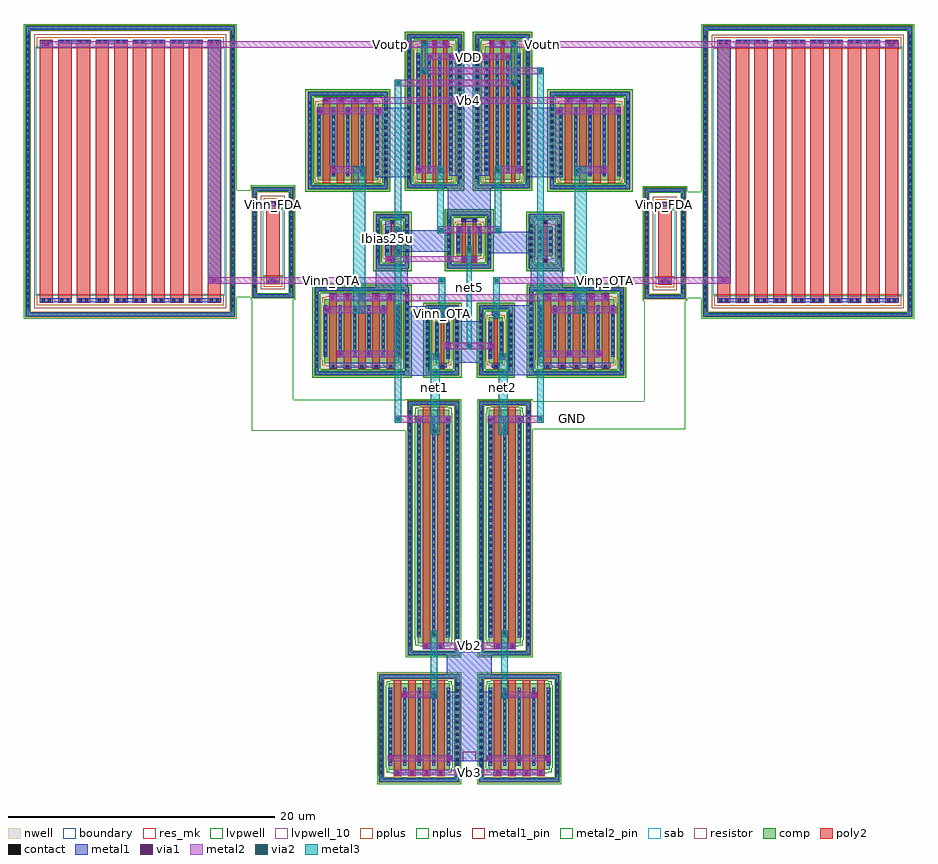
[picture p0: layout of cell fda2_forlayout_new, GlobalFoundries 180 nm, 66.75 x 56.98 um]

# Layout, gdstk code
from math import pi, radians
import gdstk
lib = gdstk.Library(unit=1e-6, precision=1e-09)
def R(c, l, rs):  # rectangles x0, y0, x1, y1
    for r in rs: c.add(gdstk.rectangle(r[:2], r[2:], *l))
def A(c, l, x, y, w, h, nx, ny, dx, dy):  # array of equal rectangles
    R(c, l, [(x+i*dx, y+j*dy, x+i*dx+w, y+j*dy+h) for i in range(nx) for j in range(ny)])
boundary = (0, 0)
nwell = (21, 0)
comp = (22, 0)
poly2 = (30, 0)
pplus = (31, 0)
nplus = (32, 0)
contact = (33, 0)
metal1 = (34, 0)
metal1_pin = (34, 10)
via1 = (35, 0)
metal2 = (36, 0)
metal2_pin = (36, 10)
via2 = (38, 0)
metal3 = (42, 0)
sab = (49, 0)
resistor = (62, 0)
res_mk = (110, 5)
lvpwell = (204, 0)
lvpwell_10 = (204, 10)

ppolyf_u_1k_sbhpz7 = lib.new_cell('ppolyf_u_1k_SBHPZ7')
R(ppolyf_u_1k_sbhpz7, boundary, [(-1.38,-3.99,1.38,3.99)])
R(ppolyf_u_1k_sbhpz7, comp, [(-1.56,-4.17,1.56,-3.81), (-1.56,-3.81,-1.2,3.81), (1.2,-3.81,1.56,3.81), (-1.56,3.81,1.56,4.17)])
R(ppolyf_u_1k_sbhpz7, poly2, [(-0.5,-3.11,0.5,3.11)])
R(ppolyf_u_1k_sbhpz7, pplus, [(-1.58,-4.19,1.58,-3.79), (-1.58,-3.79,-1.17,-3.685), (1.17,-3.79,1.58,-3.685), (-1.59,-3.685,-1.17,3.685), (1.17,-3.685,1.59,3.685), (-0.7,-3.31,0.7,-2.5), (-0.7,2.5,0.7,3.31), (-1.58,3.685,-1.17,3.79), (1.17,3.685,1.58,3.79), (-1.58,3.79,1.58,4.19)])
A(ppolyf_u_1k_sbhpz7, contact, -1.49, -3.4, 0.22, 0.22, 1, 15, 0, 0.47)
A(ppolyf_u_1k_sbhpz7, contact, 1.27, -3.4, 0.22, 0.22, 1, 15, 0, 0.47)
R(ppolyf_u_1k_sbhpz7, contact, [(-0.345,-3.04,-0.125,-2.82), (0.125,-3.04,0.345,-2.82), (-0.345,2.82,-0.125,3.04), (0.125,2.82,0.345,3.04)])
R(ppolyf_u_1k_sbhpz7, metal1, [(-1.495,-4.105,1.495,-3.875), (-1.495,-3.875,-1.265,3.875), (1.265,-3.875,1.495,3.875), (-0.49,-3.045,0.49,-2.815), (-0.49,2.815,0.49,3.045), (-1.495,3.875,1.495,4.105)])
R(ppolyf_u_1k_sbhpz7, sab, [(-0.78,-2.6,0.78,2.6), (-0.78,-2.5,0.78,2.5)])
R(ppolyf_u_1k_sbhpz7, resistor, [(-0.9,-3.51,0.9,3.51)])
R(ppolyf_u_1k_sbhpz7, res_mk, [(-0.78,-2.5,0.78,2.5), (-0.5,-2.5,0.5,2.5)])
R(ppolyf_u_1k_sbhpz7, lvpwell, [(-1.68,-4.29,1.68,4.29)])

ppolyf_u_1k_lusa4k = lib.new_cell('ppolyf_u_1k_LUSA4K')
R(ppolyf_u_1k_lusa4k, boundary, [(-7.68,-10.74,7.68,10.74)])
R(ppolyf_u_1k_lusa4k, comp, [(-7.86,-10.92,7.86,-10.56), (-7.86,-10.56,-7.5,10.56), (7.5,-10.56,7.86,10.56), (-7.86,10.56,7.86,10.92)])
A(ppolyf_u_1k_lusa4k, poly2, -6.8, -9.86, 1, 19.72, 10, 1, 1.4, 0)
R(ppolyf_u_1k_lusa4k, pplus, [(-7.88,-10.94,7.88,-10.54), (-7.88,-10.54,-7.47,-10.435), (7.47,-10.54,7.88,-10.435), (-7.89,-10.435,-7.47,10.435), (7.47,-10.435,7.89,10.435), (-7,-10.06,7,-9.25), (-7,9.25,7,10.06), (-7.88,10.435,-7.47,10.54), (7.47,10.435,7.88,10.54), (-7.88,10.54,7.88,10.94)])
A(ppolyf_u_1k_lusa4k, contact, -7.79, -10.215, 0.22, 0.22, 1, 44, 0, 0.47)
A(ppolyf_u_1k_lusa4k, contact, 7.57, -10.215, 0.22, 0.22, 1, 44, 0, 0.47)
R(ppolyf_u_1k_lusa4k, contact, [(-6.645,-9.79,-6.425,-9.57), (-6.175,-9.79,-5.955,-9.57), (-5.245,-9.79,-5.025,-9.57), (-4.775,-9.79,-4.555,-9.57), (-3.845,-9.79,-3.625,-9.57), (-3.375,-9.79,-3.155,-9.57), (-2.445,-9.79,-2.225,-9.57), (-1.975,-9.79,-1.755,-9.57), (-1.045,-9.79,-0.825,-9.57), (-0.575,-9.79,-0.355,-9.57), (0.355,-9.79,0.575,-9.57), (0.825,-9.79,1.045,-9.57), (1.755,-9.79,1.975,-9.57), (2.225,-9.79,2.445,-9.57), (3.155,-9.79,3.375,-9.57), (3.625,-9.79,3.845,-9.57), (4.555,-9.79,4.775,-9.57), (5.025,-9.79,5.245,-9.57), (5.955,-9.79,6.175,-9.57), (6.425,-9.79,6.645,-9.57), (-6.645,9.57,-6.425,9.79), (-6.175,9.57,-5.955,9.79), (-5.245,9.57,-5.025,9.79), (-4.775,9.57,-4.555,9.79), (-3.845,9.57,-3.625,9.79), (-3.375,9.57,-3.155,9.79), (-2.445,9.57,-2.225,9.79), (-1.975,9.57,-1.755,9.79), (-1.045,9.57,-0.825,9.79), (-0.575,9.57,-0.355,9.79), (0.355,9.57,0.575,9.79), (0.825,9.57,1.045,9.79), (1.755,9.57,1.975,9.79), (2.225,9.57,2.445,9.79), (3.155,9.57,3.375,9.79), (3.625,9.57,3.845,9.79), (4.555,9.57,4.775,9.79), (5.025,9.57,5.245,9.79), (5.955,9.57,6.175,9.79), (6.425,9.57,6.645,9.79)])
A(ppolyf_u_1k_lusa4k, metal1, -6.79, -9.795, 0.98, 0.23, 10, 2, 1.4, 19.36)
R(ppolyf_u_1k_lusa4k, metal1, [(-7.795,-10.855,7.795,-10.625), (-7.795,-10.625,-7.565,10.625), (7.565,-10.625,7.795,10.625), (-7.795,10.625,7.795,10.855)])
R(ppolyf_u_1k_lusa4k, sab, [(-7.08,-9.35,7.08,9.35), (-7.08,-9.25,7.08,9.25)])
R(ppolyf_u_1k_lusa4k, resistor, [(-7.2,-10.26,7.2,10.26)])
A(ppolyf_u_1k_lusa4k, res_mk, -6.8, -9.25, 1, 18.5, 10, 1, 1.4, 0)
R(ppolyf_u_1k_lusa4k, res_mk, [(-7.08,-9.25,7.08,9.25)])
R(ppolyf_u_1k_lusa4k, lvpwell, [(-7.98,-11.04,7.98,11.04)])

nfet_03v3_egpf84 = lib.new_cell('nfet_03v3_EGPF84')
R(nfet_03v3_egpf84, boundary, [(-2.85,-3.88,2.85,3.88)])
R(nfet_03v3_egpf84, comp, [(-3.03,-4.06,3.03,-3.7), (-3.03,-3.7,-2.67,3.7), (2.67,-3.7,3.03,3.7), (-2.275,-3.13,2.275,-2.81), (-2.34,-2.81,2.34,3.05), (-2.275,3.05,2.275,3.37), (-3.03,3.7,3.03,4.06)])
A(nfet_03v3_egpf84, poly2, -1.9, -3.59, 0.56, 7.18, 4, 1, 1.08, 0)
R(nfet_03v3_egpf84, pplus, [(-3.05,-4.08,3.05,-3.68), (-3.05,-3.68,-2.64,-3.575), (2.64,-3.68,3.05,-3.575), (-3.06,-3.575,-2.64,3.575), (2.64,-3.575,3.06,3.575), (-3.05,3.575,-2.64,3.68), (2.64,3.575,3.05,3.68), (-3.05,3.68,3.05,4.08)])
R(nfet_03v3_egpf84, nplus, [(-2.13,-3.36,2.13,-3.29), (-2.435,-3.29,2.435,-2.97), (-2.5,-2.97,2.5,3.21), (-2.435,3.21,2.435,3.53), (-2.13,3.53,2.13,3.6)])
A(nfet_03v3_egpf84, contact, -1.73, -3.52, 0.22, 0.22, 4, 1, 1.08, 0)
A(nfet_03v3_egpf84, contact, -2.96, -3.4, 0.22, 0.22, 1, 15, 0, 0.47)
A(nfet_03v3_egpf84, contact, 2.74, -3.4, 0.22, 0.22, 1, 15, 0, 0.47)
A(nfet_03v3_egpf84, contact, -2.27, -2.575, 0.22, 0.22, 5, 12, 1.08, 0.47)
A(nfet_03v3_egpf84, metal1, -1.89, -3.525, 0.54, 0.23, 4, 1, 1.08, 0)
A(nfet_03v3_egpf84, metal1, -2.275, -2.8, 0.23, 5.84, 5, 1, 1.08, 0)
R(nfet_03v3_egpf84, metal1, [(-2.965,-3.995,2.965,-3.765), (-2.965,-3.765,-2.735,3.765), (2.735,-3.765,2.965,3.765), (-2.965,3.765,2.965,3.995)])
R(nfet_03v3_egpf84, lvpwell, [(-3.15,-4.18,3.15,4.18)])

nfet_03v3_6gn9jw = lib.new_cell('nfet_03v3_6GN9JW')
R(nfet_03v3_6gn9jw, boundary, [(-1.77,-9.38,1.77,9.38)])
R(nfet_03v3_6gn9jw, comp, [(-1.95,-9.56,1.95,-9.2), (-1.95,-9.2,-1.59,9.2), (1.59,-9.2,1.95,9.2), (-1.195,-8.63,1.195,-8.195), (-1.26,-8.195,1.26,8.435), (-1.195,8.435,1.195,8.87), (-1.95,9.2,1.95,9.56)])
R(nfet_03v3_6gn9jw, poly2, [(-0.82,-9.09,-0.26,9.09), (0.26,-9.09,0.82,9.09)])
R(nfet_03v3_6gn9jw, pplus, [(-1.97,-9.58,1.97,-9.18), (-1.97,-9.18,-1.56,-9.075), (1.56,-9.18,1.97,-9.075), (-1.98,-9.075,-1.56,9.075), (1.56,-9.075,1.98,9.075), (-1.97,9.075,-1.56,9.18), (1.56,9.075,1.97,9.18), (-1.97,9.18,1.97,9.58)])
R(nfet_03v3_6gn9jw, nplus, [(-1.05,-8.86,1.05,-8.79), (-1.355,-8.79,1.355,-8.355), (-1.42,-8.355,1.42,8.595), (-1.355,8.595,1.355,9.03), (-1.05,9.03,1.05,9.1)])
A(nfet_03v3_6gn9jw, contact, -1.88, -8.805, 0.22, 0.22, 1, 38, 0, 0.47)
A(nfet_03v3_6gn9jw, contact, 1.66, -8.805, 0.22, 0.22, 1, 38, 0, 0.47)
A(nfet_03v3_6gn9jw, contact, -1.19, -7.98, 0.22, 0.22, 3, 35, 1.08, 0.47)
R(nfet_03v3_6gn9jw, contact, [(-0.65,-9.02,-0.43,-8.8), (0.43,-9.02,0.65,-8.8)])
A(nfet_03v3_6gn9jw, metal1, -1.195, -8.185, 0.23, 16.61, 3, 1, 1.08, 0)
R(nfet_03v3_6gn9jw, metal1, [(-1.885,-9.495,1.885,-9.265), (-1.885,-9.265,-1.655,9.265), (1.655,-9.265,1.885,9.265), (-0.81,-9.025,-0.27,-8.795), (0.27,-9.025,0.81,-8.795), (-1.885,9.265,1.885,9.495)])
R(nfet_03v3_6gn9jw, lvpwell, [(-2.07,-9.68,2.07,9.68)])

pfet_03v3_gkwnht = lib.new_cell('pfet_03v3_GKWNHT')
R(pfet_03v3_gkwnht, boundary, [(-3.39,-3.15,3.39,3.15)])
R(pfet_03v3_gkwnht, nwell, [(-3.69,-3.45,3.69,3.45)])
R(pfet_03v3_gkwnht, comp, [(-3.57,-3.33,3.57,-2.97), (-3.57,-2.97,-3.21,2.97), (3.21,-2.97,3.57,2.97), (-2.815,-2.4,2.815,-1.935), (-2.88,-1.935,2.88,1.935), (-2.815,1.935,2.815,2.4), (-3.57,2.97,3.57,3.33)])
A(pfet_03v3_gkwnht, poly2, -2.44, -2.86, 0.56, 5.72, 5, 1, 1.08, 0)
R(pfet_03v3_gkwnht, pplus, [(-2.67,-2.63,2.67,-2.56), (-2.975,-2.56,2.975,-2.095), (-3.04,-2.095,3.04,2.095), (-2.975,2.095,2.975,2.56), (-2.67,2.56,2.67,2.63)])
R(pfet_03v3_gkwnht, nplus, [(-3.73,-3.49,3.73,-2.86), (-3.73,-2.86,-3.1,2.86), (3.1,-2.86,3.73,2.86), (-3.73,2.86,3.73,3.49)])
A(pfet_03v3_gkwnht, contact, -2.27, -2.79, 0.22, 0.22, 5, 2, 1.08, 5.36)
A(pfet_03v3_gkwnht, contact, -3.5, -2.695, 0.22, 0.22, 1, 12, 0, 0.47)
A(pfet_03v3_gkwnht, contact, 3.28, -2.695, 0.22, 0.22, 1, 12, 0, 0.47)
A(pfet_03v3_gkwnht, contact, -2.81, -1.755, 0.22, 0.22, 6, 8, 1.08, 0.47)
A(pfet_03v3_gkwnht, metal1, -2.43, -2.795, 0.54, 0.23, 5, 2, 1.08, 5.36)
A(pfet_03v3_gkwnht, metal1, -2.815, -1.925, 0.23, 3.85, 6, 1, 1.08, 0)
R(pfet_03v3_gkwnht, metal1, [(-3.505,-3.265,3.505,-3.035), (-3.505,-3.035,-3.275,3.035), (3.275,-3.035,3.505,3.035), (-3.505,3.035,3.505,3.265)])

pfet_03v3_3s3y6a = lib.new_cell('pfet_03v3_3S3Y6A')
R(pfet_03v3_3s3y6a, boundary, [(-1.09,-1.885,1.09,1.885)])
R(pfet_03v3_3s3y6a, nwell, [(-1.39,-2.185,1.39,2.185)])
R(pfet_03v3_3s3y6a, comp, [(-1.27,-2.065,1.27,-1.705), (-1.27,-1.705,-0.91,1.705), (0.91,-1.705,1.27,1.705), (-0.515,-1.135,0.515,-1.03), (-0.58,-1.03,0.58,1.03), (-0.515,1.03,0.515,1.135), (-1.27,1.705,1.27,2.065)])
R(pfet_03v3_3s3y6a, poly2, [(-0.18,-1.595,0.18,-1.235), (-0.14,-1.235,0.14,1.235), (-0.18,1.235,0.18,1.595)])
R(pfet_03v3_3s3y6a, pplus, [(-0.37,-1.365,0.37,-1.295), (-0.675,-1.295,0.675,-1.19), (-0.74,-1.19,0.74,1.19), (-0.675,1.19,0.675,1.295), (-0.37,1.295,0.37,1.365)])
R(pfet_03v3_3s3y6a, nplus, [(-1.43,-2.225,1.43,-1.595), (-1.43,-1.595,-0.8,1.595), (0.8,-1.595,1.43,1.595), (-1.43,1.595,1.43,2.225)])
A(pfet_03v3_3s3y6a, contact, -1.2, -1.285, 0.22, 0.22, 1, 6, 0, 0.47)
A(pfet_03v3_3s3y6a, contact, 0.98, -1.285, 0.22, 0.22, 1, 6, 0, 0.47)
A(pfet_03v3_3s3y6a, contact, -0.51, -0.815, 0.22, 0.22, 1, 4, 0, 0.47)
A(pfet_03v3_3s3y6a, contact, 0.29, -0.815, 0.22, 0.22, 1, 4, 0, 0.47)
R(pfet_03v3_3s3y6a, contact, [(-0.11,-1.525,0.11,-1.305), (-0.11,1.305,0.11,1.525)])
R(pfet_03v3_3s3y6a, metal1, [(-1.205,-2,1.205,-1.77), (-1.205,-1.77,-0.975,1.77), (0.975,-1.77,1.205,1.77), (-0.17,-1.53,0.17,-1.3), (-0.515,-1.02,-0.285,1.02), (0.285,-1.02,0.515,1.02), (-0.17,1.3,0.17,1.53), (-1.205,1.77,1.205,2)])

pfet_03v3_2jhb2g = lib.new_cell('pfet_03v3_2JHB2G')
R(pfet_03v3_2jhb2g, boundary, [(-1.09,-2.475,1.09,2.475)])
R(pfet_03v3_2jhb2g, nwell, [(-1.39,-2.775,1.39,2.775)])
R(pfet_03v3_2jhb2g, comp, [(-1.27,-2.655,1.27,-2.295), (-1.27,-2.295,-0.91,2.295), (0.91,-2.295,1.27,2.295), (-0.515,-1.725,0.515,-1.395), (-0.58,-1.395,0.58,1.395), (-0.515,1.395,0.515,1.725), (-1.27,2.295,1.27,2.655)])
R(pfet_03v3_2jhb2g, poly2, [(-0.18,-2.185,0.18,-1.825), (-0.14,-1.825,0.14,1.825), (-0.18,1.825,0.18,2.185)])
R(pfet_03v3_2jhb2g, pplus, [(-0.37,-1.955,0.37,-1.885), (-0.675,-1.885,0.675,-1.555), (-0.74,-1.555,0.74,1.555), (-0.675,1.555,0.675,1.885), (-0.37,1.885,0.37,1.955)])
R(pfet_03v3_2jhb2g, nplus, [(-1.43,-2.815,1.43,-2.185), (-1.43,-2.185,-0.8,2.185), (0.8,-2.185,1.43,2.185), (-1.43,2.185,1.43,2.815)])
A(pfet_03v3_2jhb2g, contact, -1.2, -1.99, 0.22, 0.22, 1, 9, 0, 0.47)
A(pfet_03v3_2jhb2g, contact, 0.98, -1.99, 0.22, 0.22, 1, 9, 0, 0.47)
A(pfet_03v3_2jhb2g, contact, -0.51, -1.285, 0.22, 0.22, 1, 6, 0, 0.47)
A(pfet_03v3_2jhb2g, contact, 0.29, -1.285, 0.22, 0.22, 1, 6, 0, 0.47)
R(pfet_03v3_2jhb2g, contact, [(-0.11,-2.115,0.11,-1.895), (-0.11,1.895,0.11,2.115)])
R(pfet_03v3_2jhb2g, metal1, [(-1.205,-2.59,1.205,-2.36), (-1.205,-2.36,-0.975,2.36), (0.975,-2.36,1.205,2.36), (-0.17,-2.12,0.17,-1.89), (-0.515,-1.385,-0.285,1.385), (0.285,-1.385,0.515,1.385), (-0.17,1.89,0.17,2.12), (-1.205,2.36,1.205,2.59)])

pfet_03v3_p66wwn = lib.new_cell('pfet_03v3_P66WWN')
R(pfet_03v3_p66wwn, boundary, [(-1.49,-1.975,1.49,1.975)])
R(pfet_03v3_p66wwn, nwell, [(-1.79,-2.275,1.79,2.275)])
R(pfet_03v3_p66wwn, comp, [(-1.67,-2.155,1.67,-1.795), (-1.67,-1.795,-1.31,1.795), (1.31,-1.795,1.67,1.795), (-0.915,-1.225,0.915,-0.995), (-0.98,-0.995,0.98,0.995), (-0.915,0.995,0.915,1.225), (-1.67,1.795,1.67,2.155)])
R(pfet_03v3_p66wwn, poly2, [(-0.58,-1.685,-0.22,-1.325), (0.22,-1.685,0.58,-1.325), (-0.54,-1.325,-0.26,1.325), (0.26,-1.325,0.54,1.325), (-0.58,1.325,-0.22,1.685), (0.22,1.325,0.58,1.685)])
R(pfet_03v3_p66wwn, pplus, [(-0.77,-1.455,0.77,-1.385), (-1.075,-1.385,1.075,-1.155), (-1.14,-1.155,1.14,1.155), (-1.075,1.155,1.075,1.385), (-0.77,1.385,0.77,1.455)])
R(pfet_03v3_p66wwn, nplus, [(-1.83,-2.315,1.83,-1.685), (-1.83,-1.685,-1.2,1.685), (1.2,-1.685,1.83,1.685), (-1.83,1.685,1.83,2.315)])
A(pfet_03v3_p66wwn, contact, -1.6, -1.52, 0.22, 0.22, 1, 7, 0, 0.47)
A(pfet_03v3_p66wwn, contact, 1.38, -1.52, 0.22, 0.22, 1, 7, 0, 0.47)
A(pfet_03v3_p66wwn, contact, -0.91, -0.815, 0.22, 0.22, 3, 4, 0.8, 0.47)
R(pfet_03v3_p66wwn, contact, [(-0.51,-1.615,-0.29,-1.395), (0.29,-1.615,0.51,-1.395), (-0.51,1.395,-0.29,1.615), (0.29,1.395,0.51,1.615)])
A(pfet_03v3_p66wwn, metal1, -0.915, -0.985, 0.23, 1.97, 3, 1, 0.8, 0)
R(pfet_03v3_p66wwn, metal1, [(-1.605,-2.09,1.605,-1.86), (-1.605,-1.86,-1.375,1.86), (1.375,-1.86,1.605,1.86), (-0.57,-1.62,-0.23,-1.39), (0.23,-1.62,0.57,-1.39), (-0.57,1.39,-0.23,1.62), (0.23,1.39,0.57,1.62), (-1.605,1.86,1.605,2.09)])

pfet_03v3_4rwqls = lib.new_cell('pfet_03v3_4RWQLS')
R(pfet_03v3_4rwqls, boundary, [(-2.85,-3.505,2.85,3.505)])
R(pfet_03v3_4rwqls, nwell, [(-3.15,-3.805,3.15,3.805)])
R(pfet_03v3_4rwqls, comp, [(-3.03,-3.685,3.03,-3.325), (-3.03,-3.325,-2.67,3.325), (2.67,-3.325,3.03,3.325), (-2.275,-2.995,2.275,-2.715), (-2.34,-2.715,2.34,2.475), (-2.275,2.475,2.275,2.755), (-3.03,3.325,3.03,3.685)])
A(pfet_03v3_4rwqls, poly2, -1.9, -3.215, 0.56, 6.43, 4, 1, 1.08, 0)
R(pfet_03v3_4rwqls, pplus, [(-2.13,-3.225,2.13,-3.155), (-2.435,-3.155,2.435,-2.875), (-2.5,-2.875,2.5,2.635), (-2.435,2.635,2.435,2.915), (-2.13,2.915,2.13,2.985)])
R(pfet_03v3_4rwqls, nplus, [(-3.19,-3.845,3.19,-3.215), (-3.19,-3.215,-2.56,3.215), (2.56,-3.215,3.19,3.215), (-3.19,3.215,3.19,3.845)])
A(pfet_03v3_4rwqls, contact, -2.96, -2.93, 0.22, 0.22, 1, 13, 0, 0.47)
A(pfet_03v3_4rwqls, contact, 2.74, -2.93, 0.22, 0.22, 1, 13, 0, 0.47)
A(pfet_03v3_4rwqls, contact, -2.27, -2.58, 0.22, 0.22, 5, 11, 1.08, 0.47)
A(pfet_03v3_4rwqls, contact, -1.73, 2.925, 0.22, 0.22, 4, 1, 1.08, 0)
A(pfet_03v3_4rwqls, metal1, -2.275, -2.705, 0.23, 5.17, 5, 1, 1.08, 0)
A(pfet_03v3_4rwqls, metal1, -1.89, 2.92, 0.54, 0.23, 4, 1, 1.08, 0)
R(pfet_03v3_4rwqls, metal1, [(-2.965,-3.62,2.965,-3.39), (-2.965,-3.39,-2.735,3.39), (2.735,-3.39,2.965,3.39), (-2.965,3.39,2.965,3.62)])

pfet_03v3_v54gyd = lib.new_cell('pfet_03v3_V54GYD')
R(pfet_03v3_v54gyd, boundary, [(-1.89,-5.63,1.89,5.63)])
R(pfet_03v3_v54gyd, nwell, [(-2.19,-5.93,2.19,5.93)])
R(pfet_03v3_v54gyd, comp, [(-2.07,-5.81,2.07,-5.45), (-2.07,-5.45,-1.71,5.45), (1.71,-5.45,2.07,5.45), (-1.315,-5.12,1.315,-4.625), (-1.38,-4.625,1.38,4.385), (-1.315,4.385,1.315,4.88), (-2.07,5.45,2.07,5.81)])
A(pfet_03v3_v54gyd, poly2, -0.94, -5.34, 0.28, 10.32, 3, 1, 0.8, 0)
A(pfet_03v3_v54gyd, poly2, -0.98, 4.98, 0.36, 0.36, 3, 1, 0.8, 0)
R(pfet_03v3_v54gyd, pplus, [(-1.17,-5.35,1.17,-5.28), (-1.475,-5.28,1.475,-4.785), (-1.54,-4.785,1.54,4.545), (-1.475,4.545,1.475,5.04), (-1.17,5.04,1.17,5.11)])
R(pfet_03v3_v54gyd, nplus, [(-2.23,-5.97,2.23,-5.34), (-2.23,-5.34,-1.6,5.34), (1.6,-5.34,2.23,5.34), (-2.23,5.34,2.23,5.97)])
A(pfet_03v3_v54gyd, contact, -2, -5.045, 0.22, 0.22, 1, 22, 0, 0.47)
A(pfet_03v3_v54gyd, contact, 1.78, -5.045, 0.22, 0.22, 1, 22, 0, 0.47)
A(pfet_03v3_v54gyd, contact, -1.31, -4.46, 0.22, 0.22, 4, 19, 0.8, 0.47)
A(pfet_03v3_v54gyd, contact, -0.91, 5.05, 0.22, 0.22, 3, 1, 0.8, 0)
A(pfet_03v3_v54gyd, metal1, -1.315, -4.615, 0.23, 8.99, 4, 1, 0.8, 0)
A(pfet_03v3_v54gyd, metal1, -0.97, 5.045, 0.34, 0.23, 3, 1, 0.8, 0)
R(pfet_03v3_v54gyd, metal1, [(-2.005,-5.745,2.005,-5.515), (-2.005,-5.515,-1.775,5.515), (1.775,-5.515,2.005,5.515), (-2.005,5.515,2.005,5.745)])

foldedcasc_cmfb_forlayou = lib.new_cell('foldedcasc_cmfb_forlayout_new')
A(foldedcasc_cmfb_forlayou, metal1, 28, 55.5, 0.5, 0.5, 3, 1, 2.2, 0)
A(foldedcasc_cmfb_forlayou, metal1, 12.8, 60.1, 0.8, 0.1, 3, 1, 1.1, 0)
R(foldedcasc_cmfb_forlayou, metal1, [(17.25,24.15,21.05,24.55), (24.75,24.15,28.55,24.55), (16.8,25.2,17.2,25.65), (18.95,25.2,19.35,25.65), (21.2,25.2,24.6,30.4), (26.45,25.2,26.85,25.65), (28.6,25.2,29,25.65), (17.85,29.95,18.25,30.4), (20.05,29.95,20.45,30.4), (25.35,29.95,25.75,30.4), (27.55,29.95,27.95,30.4), (21.9,30.4,23.9,31.6), (21.2,31.6,24.6,33.3), (21.9,33.3,23.9,33.4), (19.4,33.7,21,34.1), (24.8,33.7,26.4,34.1), (20,34.5,20.5,35), (21.15,34.5,21.2,50.6), (24.6,34.5,24.65,50.6), (25.3,34.5,25.8,35), (20,49.7,20.5,50.2), (25.3,49.7,25.8,50.2), (18.9,50.6,19.4,51.1), (21,50.6,21.5,51.1), (24.3,50.6,24.8,51.1), (26.4,50.6,26.9,51.1), (18.1,54.1,19.9,59.3), (25.9,54.15,27.7,59.4), (12.4,54.7,17.3,55.1), (20.6,54.7,21.2,55), (24.6,54.7,25.2,55), (28.6,54.7,33.5,55.1), (21.8,55.1,23.9,58.2), (20.2,55.3,20.7,55.8), (25.1,55.3,25.6,55.8), (13,55.5,13.5,56), (15.1,55.5,15.6,56), (17.3,55.5,17.8,56), (21,56.1,21.5,56.6), (24.3,56.1,24.8,56.6), (20.6,58.6,21.2,58.9), (24.6,58.6,25.2,58.9), (12,58.8,12.5,59.3), (14.2,58.8,14.7,59.3), (16.2,58.8,16.7,59.3), (29.1,58.8,29.6,59.3), (31.2,58.8,31.7,59.3), (33.4,58.8,33.9,59.3), (12.4,59.7,17.3,60.1), (28.6,59.7,33.4,60.1), (12.4,60.1,12.5,60.2), (16.1,60.1,16.8,60.2), (17.1,60.1,17.3,60.2), (28.6,60.1,28.7,60.2), (29,60.1,29.8,60.2), (30.1,60.1,30.8,60.2), (31.1,60.1,31.9,60.2), (32.2,60.1,33,60.2), (33.3,60.1,33.4,60.2), (15.9,60.7,18.3,62.2), (27.5,60.7,29.9,62.2), (27.4,62.2,29.8,63.3), (16.6,62.65,17.3,62.95), (22.3,62.65,23.5,63.05), (16.6,62.95,17.1,65.7), (21.3,63.1,21.5,63.4), (24.3,63.3,29.8,64.9), (17.4,63.4,21.5,65), (22.7,63.4,23.1,63.8), (22.2,64.8,22.4,64.9), (23.4,64.8,23.6,64.9), (22,64.9,22.4,65.2), (23.4,64.9,23.8,65.2), (27.4,64.9,29.8,66.2), (21.3,65,21.5,65.3), (22.2,65.2,22.4,65.25), (23.4,65.2,23.6,65.25), (22.3,65.6,23.5,65.9), (21.3,66.3,24.5,68.3), (22.2,68.3,23.6,69.1), (15.9,69,18.5,74.2), (27.3,69,29.9,74.2), (21.4,69.1,24.4,78.3), (12.5,69.3,13,69.8), (14.6,69.3,15.1,69.8), (18.9,69.3,19.4,69.8), (20.5,69.3,21,69.8), (24.8,69.3,25.3,69.8), (26.4,69.3,26.9,69.8), (30.8,69.3,31.3,69.8), (32.8,69.3,33.3,69.8), (11.5,73.7,12,74.2), (13.6,73.7,14.1,74.2), (31.7,73.7,32.2,74.2), (33.8,73.7,34.3,74.2), (12,74.5,15.7,74.9), (30.1,74.5,33.8,74.9), (19.7,77.8,20.2,78.3), (25.6,77.8,26.1,78.3), (19.3,78.7,21.4,79.2), (24.4,78.7,26.5,79.2)])
R(foldedcasc_cmfb_forlayou, metal1_pin, [(22.4,25.2,23.4,25.9), (20.6,58.6,21.2,58.9), (24.6,58.6,25.2,58.9), (16.6,62.75,17.05,65.65), (22.5,77.6,23.3,78.3)])
A(foldedcasc_cmfb_forlayou, via1, 28.12, 55.62, 0.26, 0.26, 3, 1, 2.2, 0)
A(foldedcasc_cmfb_forlayou, via1, 12.12, 58.92, 0.26, 0.26, 3, 1, 2.1, 0)
A(foldedcasc_cmfb_forlayou, via1, 12.52, 59.82, 0.26, 0.26, 4, 1, 1.1, 0)
A(foldedcasc_cmfb_forlayou, via1, 30.82, 59.82, 0.26, 0.26, 3, 1, 1.1, 0)
A(foldedcasc_cmfb_forlayou, via1, 19.42, 78.82, 0.26, 0.26, 3, 1, 0.8, 0)
A(foldedcasc_cmfb_forlayou, via1, 24.52, 78.82, 0.26, 0.26, 3, 1, 0.8, 0)
R(foldedcasc_cmfb_forlayou, via1, [(17.32,24.22,17.58,24.48), (18.47,24.22,18.73,24.48), (19.57,24.22,19.83,24.48), (20.62,24.22,20.88,24.48), (24.92,24.22,25.18,24.48), (25.97,24.22,26.23,24.48), (27.07,24.22,27.33,24.48), (28.12,24.22,28.38,24.48), (28.67,25.27,28.93,25.53), (16.87,25.32,17.13,25.58), (19.02,25.32,19.28,25.58), (21.27,25.32,21.53,25.58), (24.27,25.32,24.53,25.58), (26.52,25.32,26.78,25.58), (17.92,30.02,18.18,30.28), (20.12,30.02,20.38,30.28), (25.42,30.02,25.68,30.28), (27.62,30.02,27.88,30.28), (19.52,33.72,19.78,33.98), (20.62,33.72,20.88,33.98), (24.92,33.72,25.18,33.98), (26.02,33.72,26.28,33.98), (20.12,34.62,20.38,34.88), (25.42,34.62,25.68,34.88), (20.12,49.82,20.38,50.08), (25.42,49.82,25.68,50.08), (19.02,50.72,19.28,50.98), (21.12,50.72,21.38,50.98), (24.42,50.72,24.68,50.98), (26.52,50.72,26.78,50.98), (20.32,55.42,20.58,55.68), (25.22,55.42,25.48,55.68), (13.12,55.62,13.38,55.88), (15.22,55.62,15.48,55.88), (17.42,55.62,17.68,55.88), (21.12,56.22,21.38,56.48), (24.42,56.22,24.68,56.48), (29.22,58.92,29.48,59.18), (31.32,58.92,31.58,59.18), (33.52,58.92,33.78,59.18), (16.82,59.82,17.08,60.08), (28.72,59.82,28.98,60.08), (29.82,59.82,30.08,60.08), (16.72,62.72,16.98,62.98), (22.37,62.72,22.63,62.98), (23.17,62.72,23.43,62.98), (22.77,63.47,23.03,63.73), (22.02,64.92,22.28,65.18), (23.52,64.92,23.78,65.18), (12.62,69.42,12.88,69.68), (14.72,69.42,14.98,69.68), (19.02,69.42,19.28,69.68), (20.62,69.42,20.88,69.68), (24.92,69.42,25.18,69.68), (26.52,69.42,26.78,69.68), (30.92,69.42,31.18,69.68), (32.92,69.42,33.18,69.68), (11.62,73.82,11.88,74.08), (13.72,73.82,13.98,74.08), (16.02,73.82,16.28,74.08), (29.52,73.82,29.78,74.08), (31.82,73.82,32.08,74.08), (33.92,73.82,34.18,74.08), (12.12,74.62,12.38,74.88), (13.22,74.62,13.48,74.88), (14.22,74.62,14.48,74.88), (15.32,74.62,15.58,74.88), (30.22,74.62,30.48,74.88), (31.32,74.62,31.58,74.88), (32.32,74.62,32.58,74.88), (33.42,74.62,33.68,74.88), (19.82,77.92,20.08,78.18), (21.52,77.92,21.78,78.18), (24.02,77.92,24.28,78.18), (25.72,77.92,25.98,78.18)])
R(foldedcasc_cmfb_forlayou, metal2, [(17.25,24.15,28.55,24.55), (16.8,25.2,21.6,25.65), (24.2,25.2,29,25.65), (17.85,29.95,20.45,30.4), (25.35,29.95,27.95,30.4), (19.4,33.6,26.4,34.1), (20,34.5,20.5,35), (25.3,34.5,25.8,35), (20,49.7,20.5,50.2), (25.3,49.7,25.8,50.2), (17.3,50.6,21.5,51.1), (24.3,50.6,28.5,51.1), (20.2,55.3,20.7,55.8), (25.1,55.3,25.6,55.8), (13,55.5,17.8,56), (28,55.5,32.9,56), (21,56.1,24.8,56.6), (12,58.8,16.7,59.3), (29.1,58.8,33.9,59.3), (12.4,59.7,33.4,60.2), (16.6,62.65,23.5,63.05), (22.7,63.4,23.1,63.8), (20.5,64.8,25.3,65.3), (12.5,69.3,15.1,69.8), (18.9,69.3,21,69.8), (24.8,69.3,26.9,69.8), (30.8,69.3,33.3,69.8), (11.5,73.7,16.4,74.2), (29.4,73.7,34.3,74.2), (12,74.5,33.8,75), (17.3,75.8,26.5,76.3), (19.3,76.7,28.5,77.2), (19.7,77.8,21.9,78.3), (23.9,77.8,26.1,78.3), (19.3,78.7,21.4,79.2), (24.4,78.7,26.5,79.2)])
R(foldedcasc_cmfb_forlayou, metal2_pin, [(22.4,24.2,23.4,24.5), (22.3,33.6,23.5,34.1), (19.2,59.7,26.5,60.2), (22.5,74.5,23.3,75), (19.3,78.7,19.4,79.2), (24.4,78.7,26.1,79.2)])
R(foldedcasc_cmfb_forlayou, via2, [(20.12,30.02,20.38,30.28), (25.42,30.02,25.68,30.28), (20.12,34.62,20.38,34.88), (25.42,34.62,25.68,34.88), (20.12,49.82,20.38,50.08), (25.42,49.82,25.68,50.08), (17.42,50.72,17.68,50.98), (28.12,50.72,28.38,50.98), (20.32,55.42,20.58,55.68), (25.22,55.42,25.48,55.68), (17.42,55.62,17.68,55.88), (28.12,55.62,28.38,55.88), (22.77,56.22,23.03,56.48), (14.22,58.92,14.48,59.18), (31.32,58.92,31.58,59.18), (22.77,63.47,23.03,63.73), (20.62,64.92,20.88,65.18), (24.92,64.92,25.18,65.18), (14.72,69.42,14.98,69.68), (20.62,69.42,20.88,69.68), (24.92,69.42,25.18,69.68), (30.92,69.42,31.18,69.68), (17.42,75.92,17.68,76.18), (26.12,75.92,26.38,76.18), (19.42,76.82,19.68,77.08), (28.12,76.82,28.38,77.08), (19.42,78.82,19.68,79.08), (26.12,78.82,26.38,79.08)])
R(foldedcasc_cmfb_forlayou, metal3, [(20,29.9,20.5,35), (25.3,29.9,25.8,35), (20,49.7,20.7,55.8), (25.1,49.7,25.8,55.8), (17.3,50.6,17.8,76.3), (28,50.6,28.5,77.2), (22.7,56.1,23.1,63.8), (14.2,58.8,15.1,69.8), (30.8,58.8,31.7,69.8), (20.5,64.8,21,69.8), (24.8,64.8,25.3,69.8), (26,75.8,26.5,79.2), (19.3,76.7,19.8,79.2)])
foldedcasc_cmfb_forlayou.add(gdstk.Reference(nfet_03v3_egpf84, (19.15,27.68)))
foldedcasc_cmfb_forlayou.add(gdstk.Reference(nfet_03v3_egpf84, (26.65,27.68)))
foldedcasc_cmfb_forlayou.add(gdstk.Reference(nfet_03v3_6gn9jw, (20.22,42.68)))
foldedcasc_cmfb_forlayou.add(gdstk.Reference(nfet_03v3_6gn9jw, (25.57,42.68)))
foldedcasc_cmfb_forlayou.add(gdstk.Reference(pfet_03v3_gkwnht, (14.84,57.45)))
foldedcasc_cmfb_forlayou.add(gdstk.Reference(pfet_03v3_3s3y6a, (17.14,64.185)))
foldedcasc_cmfb_forlayou.add(gdstk.Reference(pfet_03v3_2jhb2g, (20.89,56.775)))
foldedcasc_cmfb_forlayou.add(gdstk.Reference(pfet_03v3_2jhb2g, (24.89,56.775)))
foldedcasc_cmfb_forlayou.add(gdstk.Reference(pfet_03v3_p66wwn, (22.89,64.275)))
foldedcasc_cmfb_forlayou.add(gdstk.Reference(pfet_03v3_gkwnht, (30.94,57.45)))
foldedcasc_cmfb_forlayou.add(gdstk.Reference(pfet_03v3_3s3y6a, (28.59,64.185)))
foldedcasc_cmfb_forlayou.add(gdstk.Reference(pfet_03v3_4rwqls, (13.8,71.755)))
foldedcasc_cmfb_forlayou.add(gdstk.Reference(pfet_03v3_v54gyd, (20.29,73.93)))
foldedcasc_cmfb_forlayou.add(gdstk.Reference(pfet_03v3_v54gyd, (25.39,73.93)))
foldedcasc_cmfb_forlayou.add(gdstk.Reference(pfet_03v3_4rwqls, (31.95,71.755)))
foldedcasc_cmfb_forlayou.add(gdstk.Label('Voutp', (19.35,78.95), layer=36, texttype=10))
foldedcasc_cmfb_forlayou.add(gdstk.Label('Voutn', (25.25,78.95), layer=36, texttype=10))
foldedcasc_cmfb_forlayou.add(gdstk.Label('Vb3', (22.9,24.35), layer=36, texttype=10))
foldedcasc_cmfb_forlayou.add(gdstk.Label('Vb2', (22.9,33.85), layer=36, texttype=10))
foldedcasc_cmfb_forlayou.add(gdstk.Label('Vb1', (22.85,59.95), layer=36, texttype=10))
foldedcasc_cmfb_forlayou.add(gdstk.Label('Vb4', (22.9,74.75), layer=36, texttype=10))
foldedcasc_cmfb_forlayou.add(gdstk.Label('VDD', (22.9,77.95), layer=34, texttype=10))
foldedcasc_cmfb_forlayou.add(gdstk.Label('GND', (22.9,25.55), layer=34, texttype=10))
foldedcasc_cmfb_forlayou.add(gdstk.Label('Vinn', (20.9,58.75), layer=34, texttype=10))
foldedcasc_cmfb_forlayou.add(gdstk.Label('Vinp', (24.9,58.75), layer=34, texttype=10))
foldedcasc_cmfb_forlayou.add(gdstk.Label('Ibias25u', (16.825,64.2), layer=34, texttype=10))

fda2_forlayout_new = lib.new_cell('fda2_forlayout_new')
A(fda2_forlayout_new, metal1, -9.3, 59.6, 2.4, 0.3, 5, 1, 2.8, 0)
A(fda2_forlayout_new, metal1, 41.5, 59.6, 2.4, 0.3, 5, 1, 2.8, 0)
A(fda2_forlayout_new, metal1, -7.9, 79, 2.4, 0.3, 4, 1, 2.8, 0)
A(fda2_forlayout_new, metal1, 42.9, 79, 2.4, 0.3, 4, 1, 2.8, 0)
R(fda2_forlayout_new, metal1, [(22.5,25.5,23.5,26), (20.6,58.4,21.1,58.6), (24.7,58.4,25.2,58.6), (20.6,58.6,21.2,58.9), (24.6,58.6,25.2,58.9), (3.3,61,4.3,79.3), (7.9,61,8.4,61.5), (37.3,61,37.8,61.5), (41.5,61,42.5,79.3), (16.6,63.1,17,65.7), (7.7,66.8,8.7,67.1), (37.1,66.8,38,67.1), (22.5,77.6,23.2,78.3), (-9.1,78.7,-8.6,79.2), (54.3,78.7,54.8,79.2)])
R(fda2_forlayout_new, metal1_pin, [(16.6,63.1,17,65.7), (7.7,66.8,8.7,67.1), (37.1,66.8,38,67.1), (22.5,77.6,23.2,78.3)])
R(fda2_forlayout_new, via1, [(20.72,58.52,20.98,58.78), (24.82,58.52,25.08,58.78), (3.62,61.12,3.88,61.38), (8.02,61.12,8.28,61.38), (37.42,61.12,37.68,61.38), (41.82,61.12,42.08,61.38), (-8.98,78.82,-8.72,79.08), (54.42,78.82,54.68,79.08)])
R(fda2_forlayout_new, metal2, [(22.3,24.2,23.5,24.5), (22.3,33.6,23.5,34.1), (20.6,58.4,21.1,58.9), (24.7,58.4,25.2,58.9), (23.4,59.7,24.6,60.2), (3.3,61,21.1,61.5), (24.7,61,42.5,61.5), (22.5,74.5,23.2,75), (-9.3,78.7,21.4,79.2), (24.4,78.7,55.1,79.2)])
R(fda2_forlayout_new, metal2_pin, [(22.3,24.2,23.5,24.5), (22.3,33.6,23.5,34.1), (23.4,59.7,24.6,60.2), (22.5,74.5,23.2,75), (16.4,78.8,17.55,79.1), (27.8,78.8,28.95,79.1)])
R(fda2_forlayout_new, via2, [(20.72,58.52,20.98,58.78), (24.82,58.52,25.08,58.78), (20.72,61.12,20.98,61.38), (24.82,61.12,25.08,61.38)])
R(fda2_forlayout_new, metal3, [(20.2,52.9,20.4,53.5), (25.3,52.9,25.5,53.5), (20.6,58.4,21.1,61.5), (24.7,58.4,25.2,61.5), (22.8,60.4,23,61)])
R(fda2_forlayout_new, lvpwell, [(6.6,50,18.2,52.3), (27.2,50.1,39.1,52.2), (36,52.2,39.1,59.9), (6.6,52.3,9.7,59.9), (36,59.9,40.8,60), (5,60,7,68), (38.8,60,40.8,67.9)])
R(fda2_forlayout_new, lvpwell_10, [(30.1,50.5,31.2,51.3)])
fda2_forlayout_new.add(gdstk.Reference(ppolyf_u_1k_sbhpz7, (37.57,64.035), rotation=pi))
fda2_forlayout_new.add(gdstk.Reference(ppolyf_u_1k_lusa4k, (48.275,69.43)))
fda2_forlayout_new.add(gdstk.Reference(ppolyf_u_1k_lusa4k, (-2.52,69.44)))
fda2_forlayout_new.add(gdstk.Reference(ppolyf_u_1k_sbhpz7, (8.18,64.09), rotation=pi))
fda2_forlayout_new.add(gdstk.Reference(foldedcasc_cmfb_forlayou, (0,0)))
fda2_forlayout_new.add(gdstk.Label('Vinn_OTA', (20.9,58.75), layer=34, texttype=0))
fda2_forlayout_new.add(gdstk.Label('Vinn_OTA', (12.6,61.25), layer=36, texttype=0))
fda2_forlayout_new.add(gdstk.Label('Vinp_OTA', (33.1,61.25), layer=36, texttype=0))
fda2_forlayout_new.add(gdstk.Label('net5', (22.9,60.7), layer=42, texttype=0))
fda2_forlayout_new.add(gdstk.Label('net2', (25.4,53.2), layer=42, texttype=0))
fda2_forlayout_new.add(gdstk.Label('net1', (20.3,53.2), layer=42, texttype=0))
fda2_forlayout_new.add(gdstk.Label('Voutp', (16.975,78.95), layer=36, texttype=10))
fda2_forlayout_new.add(gdstk.Label('Voutn', (28.375,78.95), layer=36, texttype=10))
fda2_forlayout_new.add(gdstk.Label('Vb3', (22.9,24.35), layer=36, texttype=10))
fda2_forlayout_new.add(gdstk.Label('Vb2', (22.9,33.85), layer=36, texttype=10))
fda2_forlayout_new.add(gdstk.Label('Vb1', (24,59.95), layer=36, texttype=10))
fda2_forlayout_new.add(gdstk.Label('Vb4', (22.85,74.75), layer=36, texttype=10))
fda2_forlayout_new.add(gdstk.Label('Vinn_FDA', (8.2,66.95), layer=34, texttype=10))
fda2_forlayout_new.add(gdstk.Label('Vinp_FDA', (37.55,66.95), layer=34, texttype=10))
fda2_forlayout_new.add(gdstk.Label('Ibias25u', (16.8,64.4), layer=34, texttype=10))
fda2_forlayout_new.add(gdstk.Label('VDD', (22.85,77.95), layer=34, texttype=10))
fda2_forlayout_new.add(gdstk.Label('GND', (30.65,50.9), layer=204, texttype=10))

lib.write_gds('fda2_forlayout_new.gds')
